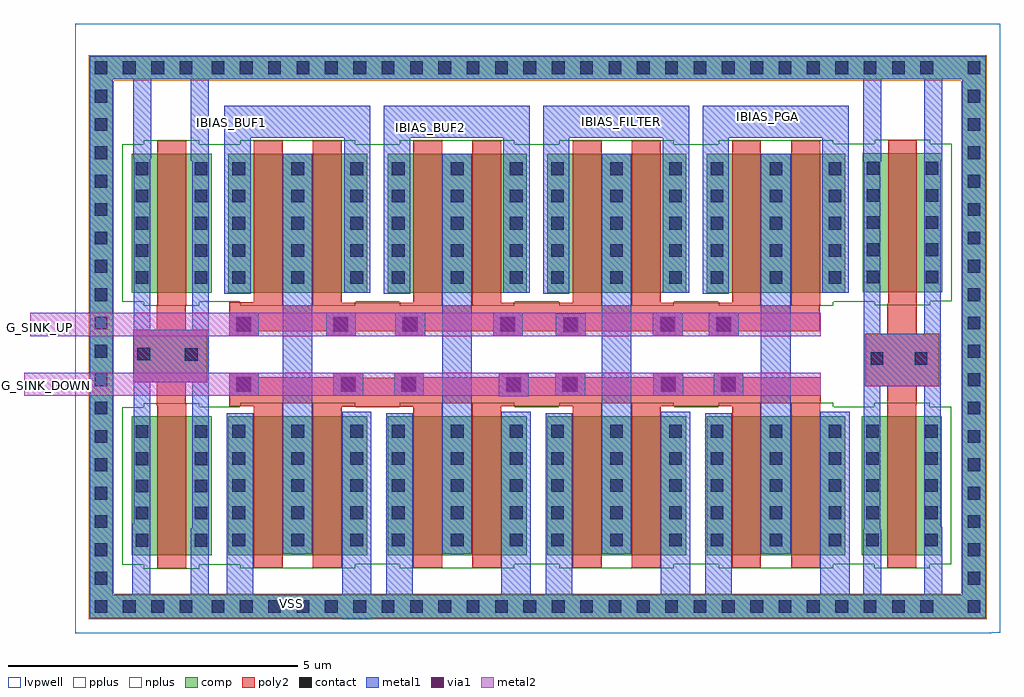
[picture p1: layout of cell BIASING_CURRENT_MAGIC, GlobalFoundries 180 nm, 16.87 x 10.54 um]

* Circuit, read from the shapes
.subckt BIASING_CURRENT_MAGIC G_SINK_DOWN G_SINK_UP IBIAS_BUF1 IBIAS_BUF2 IBIAS_FILTER IBIAS_PGA VSS
XM1 VSS VSS VSS VSS nfet_03v3 w=2.4u l=0.5u m=4
XM2 n1 G_SINK_DOWN VSS VSS nfet_03v3 w=2.4u l=0.5u m=2
XM3 n1 G_SINK_UP IBIAS_BUF1 VSS nfet_03v3 w=2.4u l=0.5u m=2
XM4 n2 G_SINK_DOWN VSS VSS nfet_03v3 w=2.4u l=0.5u m=2
XM5 n2 G_SINK_UP IBIAS_BUF2 VSS nfet_03v3 w=2.4u l=0.5u m=2
XM6 n3 G_SINK_DOWN VSS VSS nfet_03v3 w=2.4u l=0.5u m=2
XM7 n3 G_SINK_UP IBIAS_FILTER VSS nfet_03v3 w=2.4u l=0.5u m=2
XM8 n4 G_SINK_DOWN VSS VSS nfet_03v3 w=2.4u l=0.5u m=2
XM9 n4 G_SINK_UP IBIAS_PGA VSS nfet_03v3 w=2.4u l=0.5u m=2
.ends

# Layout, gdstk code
import gdstk
lib = gdstk.Library(unit=1e-6, precision=1e-09)
def R(c, l, rs):  # rectangles x0, y0, x1, y1
    for r in rs: c.add(gdstk.rectangle(r[:2], r[2:], *l))
def A(c, l, x, y, w, h, nx, ny, dx, dy):  # array of equal rectangles
    R(c, l, [(x+i*dx, y+j*dy, x+i*dx+w, y+j*dy+h) for i in range(nx) for j in range(ny)])
comp = (22, 0)
poly2 = (30, 0)
pplus = (31, 0)
nplus = (32, 0)
contact = (33, 0)
metal1 = (34, 0)
via1 = (35, 0)
metal2 = (36, 0)
lvpwell = (204, 0)

nfet_03v3_ct75pz = lib.new_cell('nfet_03v3_CT75PZ')
R(nfet_03v3_ct75pz, comp, [(-1.2,-1.2,1.2,1.2)])
R(nfet_03v3_ct75pz, poly2, [(-0.76,-1.42,-0.26,1.42), (0.26,-1.42,0.76,1.42)])
R(nfet_03v3_ct75pz, nplus, [(-0.99,-1.43,0.99,-1.36), (-1.36,-1.36,1.36,1.36), (-0.99,1.36,0.99,1.43)])
A(nfet_03v3_ct75pz, contact, -1.13, -1.05, 0.22, 0.22, 3, 5, 1.02, 0.47)
A(nfet_03v3_ct75pz, metal1, -1.135, -1.19, 0.23, 2.38, 3, 1, 1.02, 0)
R(nfet_03v3_ct75pz, lvpwell, [(-1.32,-1.54,1.32,1.54)])

nfet_03v3_ctb5pz = lib.new_cell('nfet_03v3_CTB5PZ')
R(nfet_03v3_ctb5pz, comp, [(-0.69,-1.2,0.69,1.2)])
R(nfet_03v3_ctb5pz, poly2, [(-0.25,-1.42,0.25,1.42)])
R(nfet_03v3_ctb5pz, nplus, [(-0.48,-1.43,0.48,-1.36), (-0.85,-1.36,0.85,1.36), (-0.48,1.36,0.48,1.43)])
A(nfet_03v3_ctb5pz, contact, -0.62, -1.05, 0.22, 0.22, 1, 5, 0, 0.47)
A(nfet_03v3_ctb5pz, contact, 0.4, -1.05, 0.22, 0.22, 1, 5, 0, 0.47)
R(nfet_03v3_ctb5pz, metal1, [(-0.625,-1.19,-0.395,1.19), (0.395,-1.19,0.625,1.19)])
R(nfet_03v3_ctb5pz, lvpwell, [(-0.81,-1.54,0.81,1.54)])

biasing_current_magic = lib.new_cell('BIASING_CURRENT_MAGIC')
R(biasing_current_magic, comp, [(-2.265,-5.285,13.215,-4.885), (-2.265,-4.885,-1.87,4.025), (12.815,-4.885,13.215,4.025), (-2.265,4.025,13.215,4.425)])
R(biasing_current_magic, poly2, [(1.59,-1.63,3.56,-1.575), (0.145,-1.625,1.07,-1.575), (4.345,-1.625,6.44,-1.575), (7.1,-1.625,9.235,-1.575), (-1.11,-1.61,-0.605,-1.21), (11.52,-1.585,12.025,-1.275), (0.145,-1.575,10.365,-1.13), (11.135,-1.275,12.415,-0.37), (-1.515,-1.21,-0.235,-0.305), (0.145,-1.13,2.46,-1.125), (2.995,-1.13,10.365,-1.125), (0.145,-1.125,0.66,-1.045), (1.945,-1.125,2.46,-1.045), (2.995,-1.125,3.51,-1.045), (4.805,-1.125,5.32,-1.05), (5.78,-1.125,6.295,-1.045), (7.475,-1.125,7.99,-1.045), (8.515,-1.125,9.03,-1.045), (5.79,-0.415,6.305,-0.33), (0.145,-0.41,0.66,-0.33), (1.82,-0.41,2.335,-0.33), (3.015,-0.41,3.53,-0.33), (4.705,-0.41,5.22,-0.33), (7.465,-0.41,7.98,-0.33), (8.435,-0.41,8.95,-0.33), (11.52,-0.37,12.025,0.15), (0.145,-0.33,10.35,0.12), (-1.11,-0.305,-0.605,0.125), (0.145,0.12,1.07,0.17), (1.59,0.12,3.525,0.165), (4.345,0.12,6.365,0.165), (7.1,0.12,9.05,0.165)])
R(biasing_current_magic, pplus, [(-2.285,-5.305,13.235,-4.865), (-2.285,-4.865,-1.85,4.005), (12.795,-4.865,13.235,4.005), (-2.285,4.005,13.235,4.445)])
A(biasing_current_magic, nplus, 2.69, -4.355, 0.035, 2.72, 3, 2, 2.755, 4.535)
R(biasing_current_magic, nplus, [(0,-4.36,0.34,-4.355), (-0.37,-1.64,-0.03,-1.635), (10.955,0.18,11.3,0.19), (10.585,2.9,10.93,2.91)])
A(biasing_current_magic, contact, -2.18, -5.195, 0.22, 0.22, 4, 2, 0.49, 9.31)
A(biasing_current_magic, contact, -0.16, -5.195, 0.22, 0.22, 26, 2, 0.49, 9.31)
A(biasing_current_magic, contact, 12.905, -5.195, 0.22, 0.22, 1, 20, 0, 0.49)
A(biasing_current_magic, contact, -2.18, -4.705, 0.22, 0.22, 1, 18, 0, 0.49)
R(biasing_current_magic, contact, [(4.95,-1.355,5.17,-1.135), (0.29,-1.35,0.51,-1.13), (2.09,-1.35,2.31,-1.13), (3.14,-1.35,3.36,-1.13), (5.925,-1.35,6.145,-1.13), (7.62,-1.35,7.84,-1.13), (8.66,-1.35,8.88,-1.13), (11.23,-0.91,11.45,-0.69), (11.99,-0.91,12.21,-0.69), (-0.62,-0.84,-0.4,-0.62), (-1.44,-0.83,-1.22,-0.61), (5.935,-0.32,6.155,-0.1), (0.29,-0.315,0.51,-0.095), (1.965,-0.315,2.185,-0.095), (3.16,-0.315,3.38,-0.095), (4.85,-0.315,5.07,-0.095), (7.61,-0.315,7.83,-0.095), (8.58,-0.315,8.8,-0.095)])
A(biasing_current_magic, metal1, 0.105, -4.885, 0.46, 3.14, 4, 1, 2.755, 0)
A(biasing_current_magic, metal1, 2.095, -4.885, 0.505, 3.17, 4, 1, 2.755, 0)
A(biasing_current_magic, metal1, 1.07, -4.175, 0.51, 6.915, 4, 1, 2.755, 0)
A(biasing_current_magic, metal1, 0.06, 0.32, 0.455, 2.7, 4, 1, 2.755, 0)
A(biasing_current_magic, metal1, 2.13, 0.34, 0.455, 2.68, 4, 1, 2.755, 0)
A(biasing_current_magic, metal1, 0.06, 3.02, 2.525, 0.545, 4, 1, 2.755, 0)
R(biasing_current_magic, metal1, [(2.095,-5.3,2.6,-5.285), (-2.265,-5.285,13.215,-4.885), (-2.265,-4.885,-1.87,4.025), (-1.53,-4.885,-1.22,-3.65), (-0.515,-4.885,-0.205,-3.735), (11.105,-4.885,11.415,-3.75), (12.155,-4.885,12.465,-3.705), (12.815,-4.885,13.215,4.025), (11.11,-3.75,11.395,-1.275), (-0.49,-3.735,-0.205,-1.21), (12.155,-3.705,12.44,-1.275), (-1.505,-3.65,-1.22,-1.21), (4.805,-1.45,5.32,-1.05), (0.145,-1.445,0.66,-1.045), (1.945,-1.445,2.46,-1.045), (2.995,-1.445,3.51,-1.045), (5.78,-1.445,6.295,-1.045), (7.475,-1.445,7.99,-1.045), (8.515,-1.445,9.03,-1.045), (11.11,-1.275,12.44,-0.37), (-1.515,-1.21,-0.205,-0.305), (5.79,-0.415,6.305,-0.015), (0.145,-0.41,0.66,-0.01), (1.82,-0.41,2.335,-0.01), (3.015,-0.41,3.53,-0.01), (4.705,-0.41,5.22,-0.01), (7.465,-0.41,7.98,-0.01), (8.435,-0.41,8.95,-0.01), (11.11,-0.37,11.395,2.605), (12.155,-0.37,12.44,2.63), (-1.505,-0.305,-1.22,2.65), (-0.49,-0.305,-0.205,2.615), (11.105,2.605,11.415,4.025), (-0.515,2.615,-0.205,4.025), (12.155,2.63,12.465,4.025), (-1.515,2.65,-1.205,4.025), (-2.265,4.025,13.215,4.425)])
R(biasing_current_magic, via1, [(4.93,-1.38,5.19,-1.12), (0.27,-1.375,0.53,-1.115), (2.07,-1.375,2.33,-1.115), (3.12,-1.375,3.38,-1.115), (5.905,-1.375,6.165,-1.115), (7.6,-1.375,7.86,-1.115), (8.64,-1.375,8.9,-1.115), (5.915,-0.345,6.175,-0.085), (0.27,-0.34,0.53,-0.08), (1.945,-0.34,2.205,-0.08), (3.14,-0.34,3.4,-0.08), (4.83,-0.34,5.09,-0.08), (7.59,-0.34,7.85,-0.08), (8.56,-0.34,8.82,-0.08)])
R(biasing_current_magic, metal2, [(4.805,-1.45,5.32,-1.445), (-3.4,-1.445,10.365,-1.045), (5.79,-0.415,6.305,-0.41), (-3.29,-0.41,10.365,-0.01)])
R(biasing_current_magic, lvpwell, [(-2.515,-5.55,13.31,-5.535), (-2.515,-5.535,13.465,4.99)])
biasing_current_magic.add(gdstk.Reference(nfet_03v3_ct75pz, (1.33,-2.995)))
biasing_current_magic.add(gdstk.Reference(nfet_03v3_ctb5pz, (-0.85,-3)))
biasing_current_magic.add(gdstk.Reference(nfet_03v3_ct75pz, (4.085,-2.995)))
biasing_current_magic.add(gdstk.Reference(nfet_03v3_ct75pz, (9.595,-2.995)))
biasing_current_magic.add(gdstk.Reference(nfet_03v3_ct75pz, (6.84,-2.995)))
biasing_current_magic.add(gdstk.Reference(nfet_03v3_ctb5pz, (11.77,-2.995)))
biasing_current_magic.add(gdstk.Reference(nfet_03v3_ct75pz, (1.33,1.54)))
biasing_current_magic.add(gdstk.Reference(nfet_03v3_ctb5pz, (-0.85,1.54)))
biasing_current_magic.add(gdstk.Reference(nfet_03v3_ct75pz, (4.085,1.54)))
biasing_current_magic.add(gdstk.Reference(nfet_03v3_ct75pz, (9.595,1.54)))
biasing_current_magic.add(gdstk.Reference(nfet_03v3_ct75pz, (6.84,1.54)))
biasing_current_magic.add(gdstk.Reference(nfet_03v3_ctb5pz, (11.78,1.55)))
biasing_current_magic.add(gdstk.Label('IBIAS_BUF1', (0.19,3.285), layer=34, texttype=10))
biasing_current_magic.add(gdstk.Label('IBIAS_BUF2', (3.62,3.195), layer=34, texttype=10))
biasing_current_magic.add(gdstk.Label('IBIAS_FILTER', (6.9,3.3), layer=34, texttype=10))
biasing_current_magic.add(gdstk.Label('IBIAS_PGA', (9.45,3.38), layer=34, texttype=10))
biasing_current_magic.add(gdstk.Label('G_SINK_UP', (-3.135,-0.26), layer=36, texttype=10))
biasing_current_magic.add(gdstk.Label('G_SINK_DOWN', (-3.085,-1.26), layer=36, texttype=10))
biasing_current_magic.add(gdstk.Label('VSS', (1.22,-5.035), layer=34, texttype=10))

lib.write_gds('BIASING_CURRENT_MAGIC.gds')
